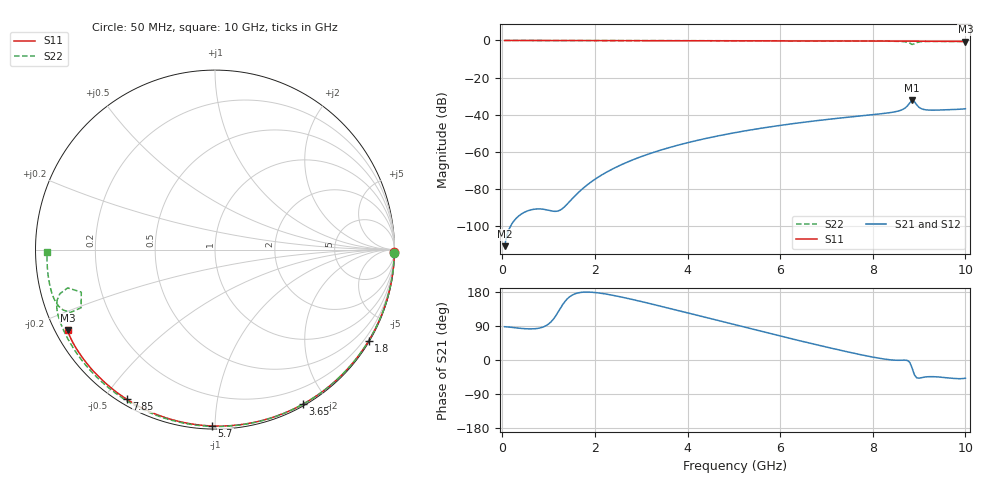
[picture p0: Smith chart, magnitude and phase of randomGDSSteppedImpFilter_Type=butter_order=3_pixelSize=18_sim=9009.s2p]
! freq	dB(S11)	phase(S11)	dB(S12)	phase(S12)
!  dB(S21)	phase(S21)	dB(S22)	phase(S22)
!S-par simulation data
#  GHz  S  DB  R 50
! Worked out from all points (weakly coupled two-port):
!   200 points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, 50 MHz to 10 GHz, reference 50 ohm
!   highest |S21| = -32.23 dB at 8.85 GHz (marker M1); lowest = -110.7 dB at 50 MHz (marker M2)
!   lowest |S11| = -0.6 dB at 10 GHz (marker M3), VSWR 29.55, Z = 1.8 - j12.7 ohm
!   |S11| at or under -10 dB: nowhere
!   |S22| runs from -2.1 to 0.0 dB; largest |S21 - S12| = 0
!   S11 on the Smith chart (normalised r, x): 50 MHz: open; 1.8 GHz: 0.03, -3.66; 3.65 GHz: 0.02, -1.72; 5.7 GHz: 0.02, -0.98; 7.85 GHz: 0.02, -0.57; 10 GHz: 0.04, -0.25
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0.05  -0.00 -0.9  -110.71 87.9  -110.71 87.9  -0.00 -1.1
0.85  -0.02 -14.6  -90.73 85.8  -90.73 85.8  -0.02 -17.9
1.75  -0.04 -29.8  -79.43 179.0  -79.43 179.0  -0.05 -36.4
1.8  -0.04 -30.6  -78.40 179.3  -78.40 179.3  -0.05 -37.4
2.1  -0.05 -35.6  -73.10 176.6  -73.10 176.6  -0.06 -43.5
2.45  -0.05 -41.3  -68.30 169.2  -68.30 169.2  -0.06 -50.4
3.4  -0.07 -56.5  -59.16 142.5  -59.16 142.5  -0.09 -68.7
3.65  -0.08 -60.4  -57.33 135.0  -57.33 135.0  -0.10 -73.3
5.05  -0.12 -81.6  -49.50 92.1  -49.50 92.1  -0.15 -98.4
5.7  -0.15 -90.9  -46.81 72.3  -46.81 72.3  -0.18 -109.5
6.7  -0.20 -104.9  -43.43 42.7  -43.43 42.7  -0.24 -126.2
7.85  -0.28 -120.5  -40.32 11.3  -40.32 11.3  -0.34 -145.2
8.35  -0.32 -127.2  -38.92 0.9  -38.92 0.9  -0.41 -154.0
8.65  -0.35 -131.2  -37.09 -0.5  -37.09 -0.5  -0.59 -160.8
8.75  -0.36 -132.6  -35.18 -1.3  -35.18 -1.3  -0.93 -164.2
8.8  -0.37 -133.2  -33.57 -6.5  -33.57 -6.5  -1.43 -165.4
8.85  -0.37 -133.9  -32.23 -21.3  -32.23 -21.3  -2.14 -162.4
8.9  -0.37 -134.6  -32.94 -39.5  -32.94 -39.5  -1.79 -156.5
8.95  -0.37 -135.3  -34.70 -47.1  -34.70 -47.1  -1.13 -156.5
9.05  -0.39 -136.7  -36.74 -46.7  -36.74 -46.7  -0.67 -160.0
9.15  -0.40 -138.0  -37.36 -44.6  -37.36 -44.6  -0.56 -162.8
10  -0.59 -151.4  -36.75 -48.1  -36.75 -48.1  -0.58 -179.1
